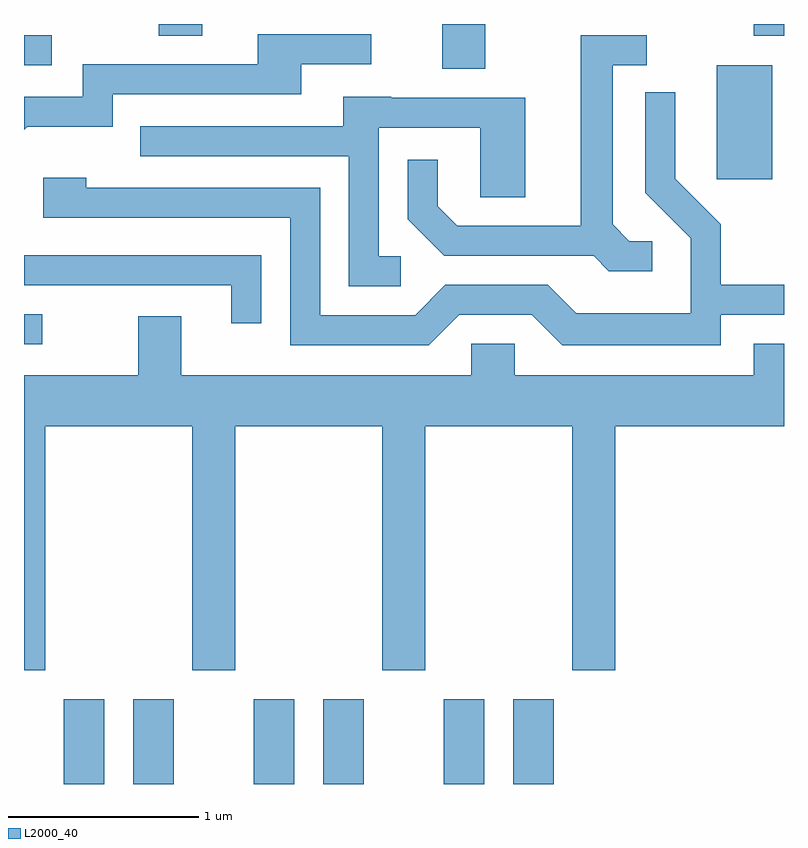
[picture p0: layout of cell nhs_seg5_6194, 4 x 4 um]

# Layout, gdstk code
import gdstk
lib = gdstk.Library(unit=1e-6, precision=1e-09)
def R(c, l, rs):  # rectangles x0, y0, x1, y1
    for r in rs: c.add(gdstk.rectangle(r[:2], r[2:], *l))
def P(c, l, *ps):  # polygons
    for p in ps: c.add(gdstk.Polygon(p, *l))
L2000_40 = (2000, 40)

nhs_seg5_6194 = lib.new_cell('nhs_seg5_6194')
R(nhs_seg5_6194, L2000_40, [(369.821,1406.072,370.034,1406.519), (370.186,1406.072,370.399,1406.519), (370.821,1406.072,371.034,1406.519), (371.186,1406.072,371.399,1406.519), (371.821,1406.072,372.034,1406.519), (372.186,1406.072,372.399,1406.519), (369.611,1408.386,369.708,1408.544), (373.256,1409.256,373.549,1409.854), (371.811,1409.836,372.039,1410.072), (369.611,1409.856,369.758,1410.014), (370.321,1410.011,370.549,1410.072), (373.451,1410.011,373.611,1410.072)])
P(nhs_seg5_6194, L2000_40, [(369.627,1409.531),(370.079,1409.531),(370.079,1409.701),(371.069,1409.701),(371.069,1409.861),(371.438,1409.861),(371.438,1410.019),(370.841,1410.019),(370.841,1409.859),(369.921,1409.859),(369.921,1409.689),(369.611,1409.689),(369.611,1409.515)],
  [(372.918,1408.929),(372.797,1408.929),(372.709,1409.017),(372.709,1409.856),(372.888,1409.856),(372.888,1410.014),(372.541,1410.014),(372.541,1409.009),(371.892,1409.009),(371.789,1409.112),(371.789,1409.358),(371.631,1409.358),(371.631,1409.044),(371.824,1408.851),(372.609,1408.851),(372.689,1408.771),(372.918,1408.771)],
  [(371.902,1408.541),(372.284,1408.541),(372.444,1408.381),(373.279,1408.381),(373.279,1408.541),(373.611,1408.541),(373.611,1408.699),(373.279,1408.699),(373.279,1409.017),(373.039,1409.257),(373.039,1409.713),(372.881,1409.713),(372.881,1409.184),(373.121,1408.944),(373.121,1408.549),(372.517,1408.549),(372.367,1408.699),(371.829,1408.699),(371.669,1408.539),(371.169,1408.539),(371.169,1409.209),(369.939,1409.209),(369.939,1409.264),(369.711,1409.264),(369.711,1409.051),(371.011,1409.051),(371.011,1408.381),(371.742,1408.381)],
  [(371.593,1408.849),(371.479,1408.849),(371.479,1409.526),(372.011,1409.526),(372.011,1409.161),(372.249,1409.161),(372.249,1409.684),(371.545,1409.684),(371.545,1409.689),(371.291,1409.689),(371.291,1409.534),(370.223,1409.534),(370.223,1409.376),(371.321,1409.376),(371.321,1408.691),(371.593,1408.691)],
  [(370.859,1408.854),(369.611,1408.854),(369.611,1408.696),(370.701,1408.696),(370.701,1408.498),(370.859,1408.498)],
  [(372.496,1406.671),(372.724,1406.671),(372.724,1407.956),(373.611,1407.956),(373.611,1408.389),(373.451,1408.389),(373.451,1408.224),(372.194,1408.224),(372.194,1408.389),(371.966,1408.389),(371.966,1408.224),(370.439,1408.224),(370.439,1408.534),(370.211,1408.534),(370.211,1408.224),(369.611,1408.224),(369.611,1406.671),(369.724,1406.671),(369.724,1407.956),(370.496,1407.956),(370.496,1406.671),(370.724,1406.671),(370.724,1407.956),(371.496,1407.956),(371.496,1406.671),(371.724,1406.671),(371.724,1407.956),(372.496,1407.956)])

lib.write_gds('nhs_seg5_6194.gds')
